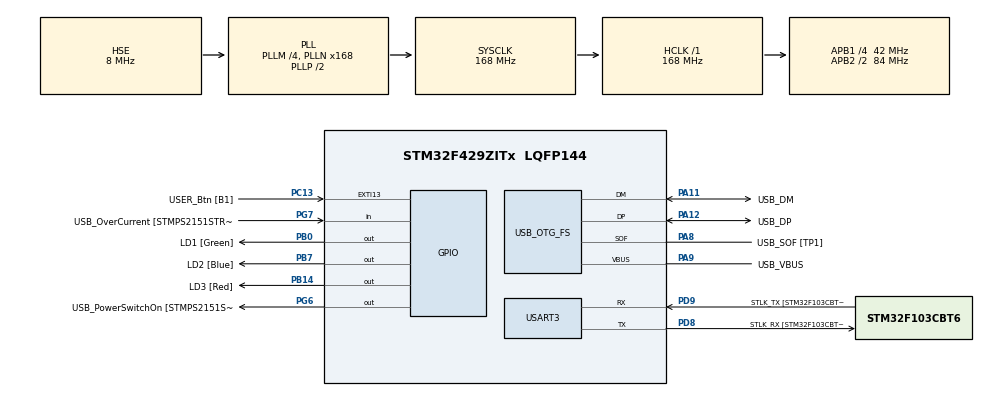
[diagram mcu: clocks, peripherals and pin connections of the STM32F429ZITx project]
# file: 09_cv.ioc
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Mcu.Family=STM32F4
Mcu.Name=STM32F429ZITx
Mcu.Package=LQFP144
NVIC.OTG_FS_IRQn=true\:0\:0\:false\:false\:true\:false\:true
NVIC.PriorityGroup=NVIC_PRIORITYGROUP_4
PA1.GPIO_Label=RMII_REF_CLK [LAN8742A-CZ-TR_REFCLK0]
PA1.Signal=ETH_REF_CLK
PA10.GPIO_Label=USB_ID
PA10.Signal=USB_OTG_FS_ID
PA11.GPIO_Label=USB_DM
PA11.Mode=Device_Only
PA11.Signal=USB_OTG_FS_DM
PA12.GPIO_Label=USB_DP
PA12.Mode=Device_Only
PA12.Signal=USB_OTG_FS_DP
PA13.GPIO_Label=TMS
PA13.Mode=Serial_Wire
PA13.Signal=SYS_JTMS-SWDIO
PA14.GPIO_Label=TCK
PA14.Mode=Serial_Wire
PA14.Signal=SYS_JTCK-SWCLK
PA2.GPIO_Label=RMII_MDIO [LAN8742A-CZ-TR_MDIO]
PA2.Signal=ETH_MDIO
PA7.GPIO_Label=RMII_CRS_DV [LAN8742A-CZ-TR_CRS_DV]
PA7.Signal=ETH_CRS_DV
PA8.GPIO_Label=USB_SOF [TP1]
PA8.Mode=Activate_SOF_FS
PA8.Signal=USB_OTG_FS_SOF
PA9.GPIO_Label=USB_VBUS
PA9.Mode=Activate_VBUS
PA9.Signal=USB_OTG_FS_VBUS
PB0.GPIO_Label=LD1 [Green]
PB0.Signal=GPIO_Output
PB13.GPIO_Label=RMII_TXD1 [LAN8742A-CZ-TR_TXD1]
PB13.Signal=ETH_TXD1
PB14.GPIO_Label=LD3 [Red]
PB14.Signal=GPIO_Output
PB7.GPIO_Label=LD2 [Blue]
PB7.Signal=GPIO_Output
PC1.GPIO_Label=RMII_MDC [LAN8742A-CZ-TR_MDC]
PC1.Signal=ETH_MDC
PC13.GPIO_Label=USER_Btn [B1]
PC13.Signal=GPXTI13
PC14/OSC32_IN.Mode=LSE-External-Oscillator
PC14/OSC32_IN.Signal=RCC_OSC32_IN
PC15/OSC32_OUT.Mode=LSE-External-Oscillator
PC15/OSC32_OUT.Signal=RCC_OSC32_OUT
PC4.GPIO_Label=RMII_RXD0 [LAN8742A-CZ-TR_RXD0]
PC4.Signal=ETH_RXD0
PC5.GPIO_Label=RMII_RXD1 [LAN8742A-CZ-TR_RXD1]
PC5.Signal=ETH_RXD1
PD8.GPIO_Label=STLK_RX [STM32F103CBT6_PA3]
PD8.Mode=Asynchronous
PD8.Signal=USART3_TX
PD9.GPIO_Label=STLK_TX [STM32F103CBT6_PA2]
PD9.Mode=Asynchronous
PD9.Signal=USART3_RX
PG11.GPIO_Label=RMII_TX_EN [LAN8742A-CZ-TR_TXEN]
PG11.Signal=ETH_TX_EN
PG13.GPIO_Label=RMII_TXD0 [LAN8742A-CZ-TR_TXD0]
PG13.Signal=ETH_TXD0
PG6.GPIO_Label=USB_PowerSwitchOn [STMPS2151STR_EN]
PG6.Signal=GPIO_Output
PG7.GPIO_Label=USB_OverCurrent [STMPS2151STR_FAULT]
PG7.Signal=GPIO_Input
PH0/OSC_IN.GPIO_Label=MCO [STM32F103CBT6_PA8]
PH0/OSC_IN.Mode=HSE-External-Clock-Source
PH0/OSC_IN.Signal=RCC_OSC_IN
PH1/OSC_OUT.Mode=HSE-External-Clock-Source
PH1/OSC_OUT.Signal=RCC_OSC_OUT
ProjectManager.HeapSize=0x200
ProjectManager.StackSize=0x400
ProjectManager.TargetToolchain=STM32CubeIDE
RCC.48MHZClocksFreq_Value=48000000
RCC.AHBFreq_Value=168000000
RCC.APB1CLKDivider=RCC_HCLK_DIV4
RCC.APB1Freq_Value=42000000
RCC.APB1TimFreq_Value=84000000
RCC.APB2CLKDivider=RCC_HCLK_DIV2
RCC.APB2Freq_Value=84000000
RCC.APB2TimCLKDivider=2
RCC.APB2TimFreq_Value=168000000
RCC.CortexFreq_Value=168000000
RCC.HCLKFreq_Value=168000000
RCC.HSE_VALUE=8000000
RCC.HSI_VALUE=16000000
RCC.PLLM=4
RCC.PLLMUL=RCC_PLL_MUL9
RCC.PLLN=168
RCC.PLLQ=7
RCC.PRESCALERUSB=RCC_USBCLKSOURCE_PLL_DIV1_5
RCC.SYSCLKFreq_VALUE=168000000
RCC.SYSCLKSource=RCC_SYSCLKSOURCE_PLLCLK
RCC.SYSCLKSourceVirtual=RCC_SYSCLKSOURCE_PLLCLK
RCC.USBFreq_Value=48000000
RCC.VCOOutputFreq_Value=336000000
USART3.VirtualMode=VM_ASYNC
USB_DEVICE.CLASS_NAME_FS=HID
USB_DEVICE.VirtualMode-HID_FS=Hid
USB_DEVICE.VirtualModeFS=Hid_FS
USB_OTG_FS.VirtualMode=Device_Only
VP_USB_DEVICE_VS_USB_DEVICE_HID_FS.Mode=HID_FS
board=NUCLEO-F429ZI

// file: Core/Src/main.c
/* USER CODE BEGIN Header */
/**
  ******************************************************************************
  * @file           : main.c
  * @brief          : Main program body
  ******************************************************************************
  * @attention
  *
  * <h2><center>&copy; Copyright (c) 2021 STMicroelectronics.
  * All rights reserved.</center></h2>
  *
  * This software component is licensed by ST under BSD 3-Clause license,
  * the "License"; You may not use this file except in compliance with the
  * License. You may obtain a copy of the License at:
  *                        opensource.org/licenses/BSD-3-Clause
  *
  ******************************************************************************
  */
/* USER CODE END Header */
#include "main.h"
#include "usb_device.h"

/* USER CODE BEGIN Includes */
#include "usbd_hid.h"
#include <math.h>
/* USER CODE END Includes */

UART_HandleTypeDef huart3;

void SystemClock_Config(void);
static void MX_GPIO_Init(void);
static void MX_USART3_UART_Init(void);
/* USER CODE BEGIN PFP */
extern USBD_HandleTypeDef hUsbDeviceFS;
/* USER CODE END PFP */

/* USER CODE BEGIN 0 */
void drawCircle(uint16_t radius, uint16_t angle){
	uint8_t buff[4];
	for (uint16_t theta = 0; theta <= angle; theta++){
		float x = radius*cos(theta*M_PI/180);
		float y = radius*sin(theta*M_PI/180);
		int8_t dx = (int8_t)(x - radius*cos((theta - 1)*M_PI/180));
		int8_t dy = (int8_t)(y - radius*sin((theta - 1)*M_PI/180));
		buff[0] = 0x01; // stiskni leve tlacitko
		buff[1] = dx;
		buff[2] = dy;
		buff[3] = 0; // bez scrollu
		USBD_HID_SendReport(&hUsbDeviceFS, buff, sizeof(buff));
		HAL_Delay(USBD_HID_GetPollingInterval(&hUsbDeviceFS));
	}

}
void step(uint16_t x, uint16_t y){
	uint8_t buff[4];
	buff[0] = 0x0; // uvolni leve tlacitko
	buff[1] = 0; // posun X
	buff[2] = 0; // posun Y
	buff[3] = 0; // bez scrollu
	USBD_HID_SendReport(&hUsbDeviceFS, buff, sizeof(buff));
	HAL_Delay(USBD_HID_GetPollingInterval(&hUsbDeviceFS));

	buff[1] = (int8_t)(x); // posun X
	buff[2] = (int8_t)(y); // posun Y
	USBD_HID_SendReport(&hUsbDeviceFS, buff, sizeof(buff));
	HAL_Delay(USBD_HID_GetPollingInterval(&hUsbDeviceFS));
}
/* USER CODE END 0 */

int main(void)
{
  /* USER CODE BEGIN 1 */
  uint16_t radius = 250;
  /* USER CODE END 1 */

  /* MCU Configuration--------------------------------------------------------*/

  /* Reset of all peripherals, Initializes the Flash interface and the Systick. */
  HAL_Init();

  /* Configure the system clock */
  SystemClock_Config();

  /* Initialize all configured peripherals */
  MX_GPIO_Init();
  MX_USART3_UART_Init();
  MX_USB_DEVICE_Init();

  /* Infinite loop */
  /* USER CODE BEGIN WHILE */
  while (1)
  {
	  drawCircle(radius, 360);
	  // spacer
	  step(-40, radius*0.05);
	  // semicircle - smile
	  drawCircle(floor(radius*0.8), 180);
	  // spacer
	  step(25, -50);
	  // eyes
	  drawCircle(80, 360);
	  // spacer
	  step(120, 0);
	  // eyes
	  drawCircle(80, 360);
	  step(1000, 1000);
	  /* USER CODE END WHILE */
  }
}

void SystemClock_Config(void)
{
  RCC_OscInitTypeDef RCC_OscInitStruct = {0};
  RCC_ClkInitTypeDef RCC_ClkInitStruct = {0};

  /** Configure the main internal regulator output voltage
  */
  __HAL_RCC_PWR_CLK_ENABLE();
  __HAL_PWR_VOLTAGESCALING_CONFIG(PWR_REGULATOR_VOLTAGE_SCALE1);
  /** Initializes the RCC Oscillators according to the specified parameters
  * in the RCC_OscInitTypeDef structure.
  */
  RCC_OscInitStruct.OscillatorType = RCC_OSCILLATORTYPE_HSE;
  RCC_OscInitStruct.HSEState = RCC_HSE_BYPASS;
  RCC_OscInitStruct.PLL.PLLState = RCC_PLL_ON;
  RCC_OscInitStruct.PLL.PLLSource = RCC_PLLSOURCE_HSE;
  RCC_OscInitStruct.PLL.PLLM = 4;
  RCC_OscInitStruct.PLL.PLLN = 168;
  RCC_OscInitStruct.PLL.PLLP = RCC_PLLP_DIV2;
  RCC_OscInitStruct.PLL.PLLQ = 7;
  if (HAL_RCC_OscConfig(&RCC_OscInitStruct) != HAL_OK)
  {
    Error_Handler();
  }
  /** Initializes the CPU, AHB and APB buses clocks
  */
  RCC_ClkInitStruct.ClockType = RCC_CLOCKTYPE_HCLK|RCC_CLOCKTYPE_SYSCLK
                              |RCC_CLOCKTYPE_PCLK1|RCC_CLOCKTYPE_PCLK2;
  RCC_ClkInitStruct.SYSCLKSource = RCC_SYSCLKSOURCE_PLLCLK;
  RCC_ClkInitStruct.AHBCLKDivider = RCC_SYSCLK_DIV1;
  RCC_ClkInitStruct.APB1CLKDivider = RCC_HCLK_DIV4;
  RCC_ClkInitStruct.APB2CLKDivider = RCC_HCLK_DIV2;

  if (HAL_RCC_ClockConfig(&RCC_ClkInitStruct, FLASH_LATENCY_5) != HAL_OK)
  {
    Error_Handler();
  }
}

static void MX_USART3_UART_Init(void)
{

  huart3.Instance = USART3;
  huart3.Init.BaudRate = 115200;
  huart3.Init.WordLength = UART_WORDLENGTH_8B;
  huart3.Init.StopBits = UART_STOPBITS_1;
  huart3.Init.Parity = UART_PARITY_NONE;
  huart3.Init.Mode = UART_MODE_TX_RX;
  huart3.Init.HwFlowCtl = UART_HWCONTROL_NONE;
  huart3.Init.OverSampling = UART_OVERSAMPLING_16;
  if (HAL_UART_Init(&huart3) != HAL_OK)
  {
    Error_Handler();
  }

}

static void MX_GPIO_Init(void)
{
  GPIO_InitTypeDef GPIO_InitStruct = {0};

  /* GPIO Ports Clock Enable */
  __HAL_RCC_GPIOC_CLK_ENABLE();
  __HAL_RCC_GPIOH_CLK_ENABLE();
  __HAL_RCC_GPIOA_CLK_ENABLE();
  __HAL_RCC_GPIOB_CLK_ENABLE();
  __HAL_RCC_GPIOD_CLK_ENABLE();
  __HAL_RCC_GPIOG_CLK_ENABLE();

  /*Configure GPIO pin Output Level */
  HAL_GPIO_WritePin(GPIOB, LD1_Pin|LD3_Pin|LD2_Pin, GPIO_PIN_RESET);

  /*Configure GPIO pin Output Level */
  HAL_GPIO_WritePin(USB_PowerSwitchOn_GPIO_Port, USB_PowerSwitchOn_Pin, GPIO_PIN_RESET);

  /*Configure GPIO pin : USER_Btn_Pin */
  GPIO_InitStruct.Pin = USER_Btn_Pin;
  GPIO_InitStruct.Mode = GPIO_MODE_IT_RISING;
  GPIO_InitStruct.Pull = GPIO_NOPULL;
  HAL_GPIO_Init(USER_Btn_GPIO_Port, &GPIO_InitStruct);

  /*Configure GPIO pins : RMII_MDC_Pin RMII_RXD0_Pin RMII_RXD1_Pin */
  GPIO_InitStruct.Pin = RMII_MDC_Pin|RMII_RXD0_Pin|RMII_RXD1_Pin;
  GPIO_InitStruct.Mode = GPIO_MODE_AF_PP;
  GPIO_InitStruct.Pull = GPIO_NOPULL;
  GPIO_InitStruct.Speed = GPIO_SPEED_FREQ_VERY_HIGH;
  GPIO_InitStruct.Alternate = GPIO_AF11_ETH;
  HAL_GPIO_Init(GPIOC, &GPIO_InitStruct);

  /*Configure GPIO pins : RMII_REF_CLK_Pin RMII_MDIO_Pin RMII_CRS_DV_Pin */
  GPIO_InitStruct.Pin = RMII_REF_CLK_Pin|RMII_MDIO_Pin|RMII_CRS_DV_Pin;
  GPIO_InitStruct.Mode = GPIO_MODE_AF_PP;
  GPIO_InitStruct.Pull = GPIO_NOPULL;
  GPIO_InitStruct.Speed = GPIO_SPEED_FREQ_VERY_HIGH;
  GPIO_InitStruct.Alternate = GPIO_AF11_ETH;
  HAL_GPIO_Init(GPIOA, &GPIO_InitStruct);

  /*Configure GPIO pins : LD1_Pin LD3_Pin LD2_Pin */
  GPIO_InitStruct.Pin = LD1_Pin|LD3_Pin|LD2_Pin;
  GPIO_InitStruct.Mode = GPIO_MODE_OUTPUT_PP;
  GPIO_InitStruct.Pull = GPIO_NOPULL;
  GPIO_InitStruct.Speed = GPIO_SPEED_FREQ_LOW;
  HAL_GPIO_Init(GPIOB, &GPIO_InitStruct);

  /*Configure GPIO pin : RMII_TXD1_Pin */
  GPIO_InitStruct.Pin = RMII_TXD1_Pin;
  GPIO_InitStruct.Mode = GPIO_MODE_AF_PP;
  GPIO_InitStruct.Pull = GPIO_NOPULL;
  GPIO_InitStruct.Speed = GPIO_SPEED_FREQ_VERY_HIGH;
  GPIO_InitStruct.Alternate = GPIO_AF11_ETH;
  HAL_GPIO_Init(RMII_TXD1_GPIO_Port, &GPIO_InitStruct);

  /*Configure GPIO pin : USB_PowerSwitchOn_Pin */
  GPIO_InitStruct.Pin = USB_PowerSwitchOn_Pin;
  GPIO_InitStruct.Mode = GPIO_MODE_OUTPUT_PP;
  GPIO_InitStruct.Pull = GPIO_NOPULL;
  GPIO_InitStruct.Speed = GPIO_SPEED_FREQ_LOW;
  HAL_GPIO_Init(USB_PowerSwitchOn_GPIO_Port, &GPIO_InitStruct);

  /*Configure GPIO pin : USB_OverCurrent_Pin */
  GPIO_InitStruct.Pin = USB_OverCurrent_Pin;
  GPIO_InitStruct.Mode = GPIO_MODE_INPUT;
  GPIO_InitStruct.Pull = GPIO_NOPULL;
  HAL_GPIO_Init(USB_OverCurrent_GPIO_Port, &GPIO_InitStruct);

  /*Configure GPIO pins : RMII_TX_EN_Pin RMII_TXD0_Pin */
  GPIO_InitStruct.Pin = RMII_TX_EN_Pin|RMII_TXD0_Pin;
  GPIO_InitStruct.Mode = GPIO_MODE_AF_PP;
  GPIO_InitStruct.Pull = GPIO_NOPULL;
  GPIO_InitStruct.Speed = GPIO_SPEED_FREQ_VERY_HIGH;
  GPIO_InitStruct.Alternate = GPIO_AF11_ETH;
  HAL_GPIO_Init(GPIOG, &GPIO_InitStruct);

}

void Error_Handler(void)
{
  __disable_irq();
  while (1)
  {
  }
}

/************************ (C) COPYRIGHT STMicroelectronics *****END OF FILE****/
